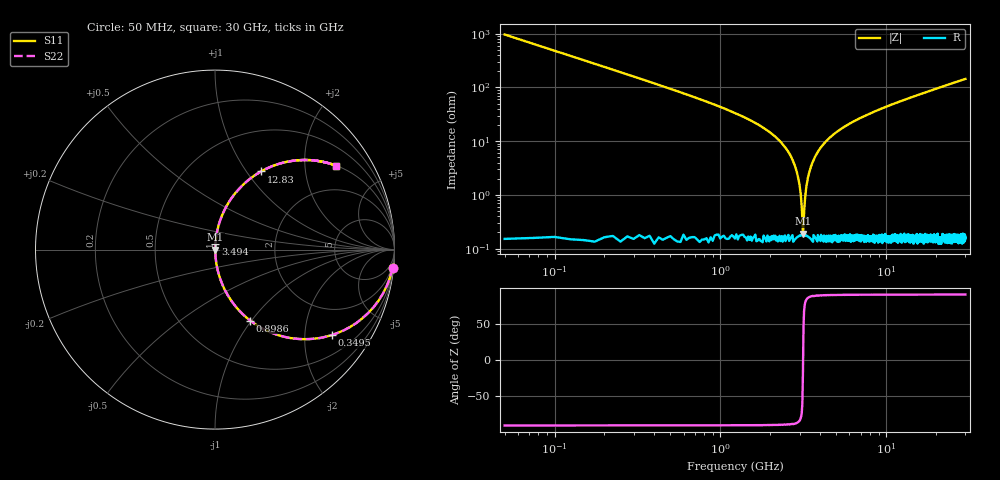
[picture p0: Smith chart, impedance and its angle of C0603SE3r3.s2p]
!	AVX Thin Film Operation 	Date: April 2014
!	Description: Accu-P® Series, Thin Film  SMD RF Capacitor
!	Part Number: 06031J3R3ABSTR
# MHZ S MA R 50
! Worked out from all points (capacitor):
!   1201 points, 50 MHz to 30 GHz, reference 50 ohm
!   read as one part in series: C = 3.3 pF near 199.8 MHz
!   lowest |Z| = 189 mohm at 3.145 GHz (marker M1)
!   series resonance near 3.151 GHz, so ESL is about 770 pH
!   S11 on the Smith chart (normalised r, x): 50 MHz: 1, -19; 349.5 MHz: 1.00, -2.73; 898.6 MHz: 1.00, -0.99; 3.494 GHz: 1.00, +0.06; 12.83 GHz: 1.00, +1.17; 30 GHz: 1.00, +2.88
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50  0.995 -5.9  0.103 84.1  0.103 84.1  0.995 -5.9
349.5  0.806 -36.2  0.591 53.7  0.591 53.7  0.806 -36.2
624.042  0.596 -53.3  0.802 36.6  0.802 36.6  0.596 -53.3
898.583  0.442 -63.6  0.896 26.2  0.896 26.2  0.442 -63.6
1497.583  0.242 -75.7  0.969 14.0  0.969 14.0  0.242 -75.7
2520.875  0.069 -84.8  0.996 3.9  0.996 3.9  0.069 -84.8
2845.333  0.031 -85.3  0.998 1.8  0.998 1.8  0.031 -85.3
2945.167  0.021 -84.5  0.998 1.2  0.998 1.2  0.021 -84.5
3045  0.011 -80.9  0.998 0.6  0.998 0.6  0.011 -80.9
3144.833  0.001685 -21.4  0.998 0.0  0.998 0.0  0.001685 -21.4
3244.667  0.009072 79.5  0.998 -0.5  0.998 -0.5  0.009072 79.5
3369.458  0.021 84.5  0.998 -1.2  0.998 -1.2  0.021 84.5
3494.25  0.032 85.4  0.998 -1.8  0.998 -1.8  0.032 85.4
4043.333  0.077 84.4  0.995 -4.4  0.995 -4.4  0.077 84.4
5041.667  0.147 80.9  0.988 -8.5  0.988 -8.5  0.147 80.9
6988.417  0.261 74.6  0.964 -15.1  0.964 -15.1  0.261 74.6
10058.29  0.403 66.1  0.914 -23.7  0.914 -23.7  0.403 66.1
12828.67  0.505 59.5  0.862 -30.3  0.862 -30.3  0.505 59.5
15025  0.572 55.0  0.819 -34.9  0.819 -34.9  0.572 55.0
20016.67  0.687 46.5  0.725 -43.4  0.725 -43.4  0.687 46.5
25033.29  0.767 39.9  0.641 -50.1  0.641 -50.1  0.767 39.9
30000  0.821 34.7  0.57 -55.2  0.57 -55.2  0.821 34.7
